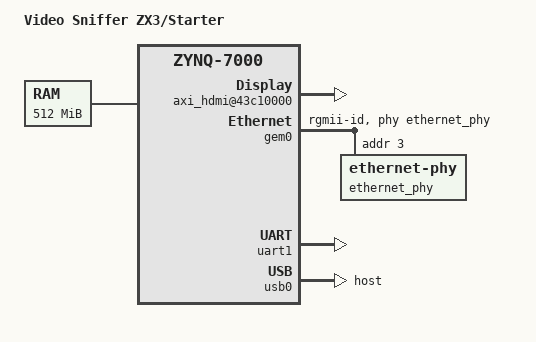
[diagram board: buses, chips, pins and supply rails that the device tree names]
/*
 *  Copyright (C) 2011 - 2014 Xilinx
 *  Copyright (C) 2012 National Instruments Corp.
 *
 * This software is licensed under the terms of the GNU General Public
 * License version 2, as published by the Free Software Foundation, and
 * may be copied, distributed, and modified under those terms.
 *
 * This program is distributed in the hope that it will be useful,
 * but WITHOUT ANY WARRANTY; without even the implied warranty of
 * MERCHANTABILITY or FITNESS FOR A PARTICULAR PURPOSE.  See the
 * GNU General Public License for more details.
 */
/dts-v1/;
/include/ "zynq-7000.dtsi"

/ {
	model = "Video Sniffer ZX3/Starter";
	compatible = "xlnx,zynq-zed", "xlnx,zynq-7000";

	aliases {
		ethernet0 = &gem0;
		serial0 = &uart1;
	};

	memory {
		device_type = "memory";
		reg = <0x0 0x20000000>;
	};

	amba {
		fpga-axi@0 {
			compatible = "simple-bus";
			#address-cells = <0x1>;
			#size-cells = <0x1>;
			ranges;

			vsniffdatavdma:axivdma@43000000 {
				compatible = "xlnx,axi-vdma-1.00.a";
				#address-cells = <0x1>;
				#size-cells = <0x1>;
				#dma-cells = <0x1>;
				#dma-channels = <0x1>;
				reg = <0x43000000 0x10000>;
				xlnx,num-fstores = <0x1>;
				xlnx,flush-fsync = <0x1>;

				dma-channel1@43000000 {
					compatible = "xlnx,axi-vdma-s2mm-channel";
					interrupts = <0x0 0x1d 0x4>;
					xlnx,datawidth = <0x20>;
					xlnx,genlock-mode = <0x2>;
					xlnx,include-dre = <0x0>;
				};
			};

			vsniffdata@7a200000 {
				compatible = "vsniff,video-sniffer-data";
				reg = <0x43c00000 0x10000>;
				dmas = <&vsniffdatavdma 0x1>;
				dma-names = "captured-video";
			};

			output_vdma:axivdma@43010000 {
				compatible = "xlnx,axi-vdma-1.00.a";
				#address-cells = <0x1>;
				#size-cells = <0x1>;
				#dma-cells = <0x1>;
				#dma-channels = <0x1>;
				reg = <0x43010000 0x10000>;
				xlnx,num-fstores = <0x3>;
				xlnx,flush-fsync = <0x1>;

				dma-channel0@80000000 {
					compatible = "xlnx,axi-vdma-mm2s-channel";
					interrupts = <0x0 0x1e 0x4>;
					xlnx,datawidth = <0x20>;
					xlnx,genlock-mode = <0x3>;
					xlnx,include-dre = <0x0>;
				};
			};

			axi_hdmi@43c10000 {
				compatible = "ant,axi-dispctrl-hdmi-tx";
				reg = <0x43c10000 0x10000>;
				dmas = <&output_vdma 0x0>;
				dma-names = "video";
			};
		};
	};
};

&gem0 {
	status = "okay";
	phy-mode = "rgmii-id";
	phy-handle = <&ethernet_phy>;

	ethernet_phy: ethernet-phy@3 {
		reg = <3>;
	};
};

&uart1 {
	status = "okay";
};

&usb0 {
	status = "okay";
	dr_mode = "host";
	phy_type = "ulpi";
};
